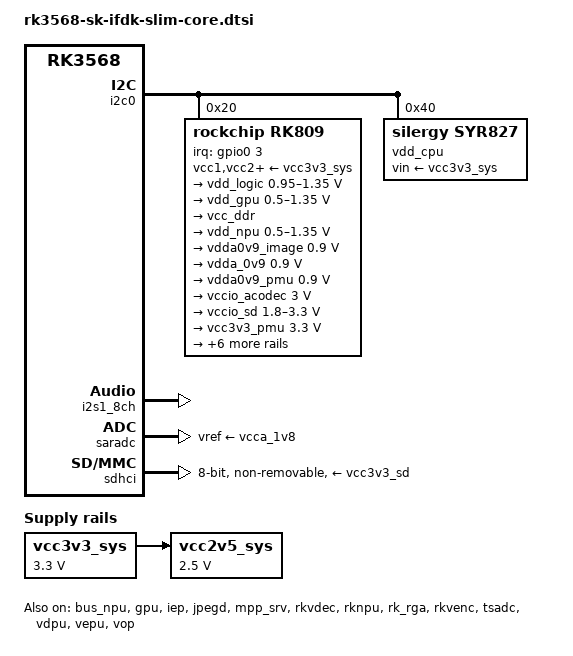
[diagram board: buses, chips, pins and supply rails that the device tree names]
// SPDX-License-Identifier: (GPL-2.0+ OR MIT)
/*
* Copyright (c) 2025 Sergey Kharenko
* Copyright (c) 2021 Rockchip Electronics Co., Ltd.
*/

#include <dt-bindings/display/rockchip_vop.h>
#include <dt-bindings/gpio/gpio.h>
#include <dt-bindings/input/rk-input.h>
#include <dt-bindings/pinctrl/rockchip.h>

#include "rk3568.dtsi"
#include "rk3568-linux.dtsi"

/ {
	chosen: chosen {
		bootargs = "earlycon=uart8250,mmio32,0xfe660000 console=ttyFIQ0 coherent_pool=1m irqchip.gicv3_pseudo_nmi=0";
	};

    vcc3v3_sys: vcc3v3-sys {
        compatible = "regulator-fixed";
        regulator-name = "vcc3v3_sys";
        regulator-always-on;
        regulator-boot-on;
        regulator-min-microvolt = <3300000>;
        regulator-max-microvolt = <3300000>;
    };

    vcc2v5_sys: vcc2v5-ddr {
        compatible = "regulator-fixed";
        regulator-name = "vcc2v5-sys";
        regulator-always-on;
        regulator-boot-on;
        regulator-min-microvolt = <2500000>;
        regulator-max-microvolt = <2500000>;
        vin-supply = <&vcc3v3_sys>;
    };
};

//GPIO0_B0 is GPIO Pin
/delete-node/ &xin32k;

&bus_npu {
	bus-supply = <&vdd_logic>;
	pvtm-supply = <&vdd_cpu>;
	status = "okay";
};

&cpu0 {
    cpu-supply = <&vdd_cpu>;
};

&dfi {
    status = "disabled";
};

&dmc {
    center-supply = <&vdd_logic>;
    status = "disabled";
};

&gpu {
    mali-supply = <&vdd_gpu>;
    mem-supply = <&vdd_gpu>;
    status = "okay";
};

&i2c0 {
    status = "okay";

    rk809: pmic@20 {
        compatible = "rockchip,rk809";
        reg = <0x20>;
        interrupt-parent = <&gpio0>;
        interrupts = <3 IRQ_TYPE_LEVEL_LOW>;

        pinctrl-names = "default", "pmic-sleep",
                "pmic-power-off", "pmic-reset";
        pinctrl-0 = <&pmic_int>;
        pinctrl-1 = <&soc_slppin_slp>, <&rk817_slppin_slp>;
        pinctrl-2 = <&soc_slppin_gpio>, <&rk817_slppin_pwrdn>;
        pinctrl-3 = <&soc_slppin_gpio>, <&rk817_slppin_rst>;

        rockchip,system-power-controller;
        wakeup-source;
        #clock-cells = <1>;
        clock-output-names = "rk808-clkout1", "rk808-clkout2";
        //fb-inner-reg-idxs = <2>;
        /* 1: rst regs (default in codes), 0: rst the pmic */
        pmic-reset-func = <0>;
        /* not save the PMIC_POWER_EN register in uboot */
        not-save-power-en = <1>;

        vcc1-supply = <&vcc3v3_sys>;
        vcc2-supply = <&vcc3v3_sys>;
        vcc3-supply = <&vcc3v3_sys>;
        vcc4-supply = <&vcc3v3_sys>;
        vcc5-supply = <&vcc3v3_sys>;
        vcc6-supply = <&vcc3v3_sys>;
        vcc7-supply = <&vcc3v3_sys>;
        vcc8-supply = <&vcc3v3_sys>;
        vcc9-supply = <&vcc3v3_sys>;

        pwrkey {
            status = "okay";
        };

        pinctrl_rk8xx: pinctrl_rk8xx {
            gpio-controller;
            #gpio-cells = <2>;

            rk817_slppin_null: rk817_slppin_null {
                pins = "gpio_slp";
                function = "pin_fun0";
            };

            rk817_slppin_slp: rk817_slppin_slp {
                pins = "gpio_slp";
                function = "pin_fun1";
            };

            rk817_slppin_pwrdn: rk817_slppin_pwrdn {
                pins = "gpio_slp";
                function = "pin_fun2";
            };

            rk817_slppin_rst: rk817_slppin_rst {
                pins = "gpio_slp";
                function = "pin_fun3";
            };
        };

        regulators {
            vdd_logic: DCDC_REG1 {
                regulator-always-on;
                regulator-boot-on;
                regulator-min-microvolt = <950000>;
                regulator-max-microvolt = <1350000>;
                regulator-init-microvolt = <950000>;
                regulator-ramp-delay = <6001>;
                regulator-initial-mode = <0x2>;
                regulator-name = "vdd_logic";
                regulator-state-mem {
                    regulator-off-in-suspend;
                };
            };

            vdd_gpu: DCDC_REG2 {
                regulator-always-on;
                regulator-boot-on;
                regulator-min-microvolt = <500000>;
                regulator-max-microvolt = <1350000>;
                regulator-init-microvolt = <900000>;
                regulator-ramp-delay = <6001>;
                regulator-initial-mode = <0x2>;
                regulator-name = "vdd_gpu";
                regulator-state-mem {
                    regulator-off-in-suspend;
                };
            };

            vcc_ddr: DCDC_REG3 {
                regulator-always-on;
                regulator-boot-on;
                regulator-initial-mode = <0x2>;
                regulator-name = "vcc_ddr";
                regulator-state-mem {
                    regulator-on-in-suspend;
                };
            };

            vdd_npu: DCDC_REG4 {
                regulator-always-on;
                regulator-boot-on;
                regulator-min-microvolt = <500000>;
                regulator-max-microvolt = <1350000>;
                regulator-init-microvolt = <900000>;
                regulator-ramp-delay = <6001>;
                regulator-initial-mode = <0x2>;
                regulator-name = "vdd_npu";
                regulator-state-mem {
                    regulator-off-in-suspend;
                };
            };

            vdda0v9_image: LDO_REG1 {
                regulator-boot-on;
                regulator-always-on;
                regulator-min-microvolt = <900000>;
                regulator-max-microvolt = <900000>;
                regulator-name = "vdda0v9_image";
                regulator-state-mem {
                    regulator-off-in-suspend;
                };
            };

            vdda_0v9: LDO_REG2 {
                regulator-always-on;
                regulator-boot-on;
                regulator-min-microvolt = <900000>;
                regulator-max-microvolt = <900000>;
                regulator-name = "vdda_0v9";
                regulator-state-mem {
                    regulator-off-in-suspend;
                };
            };

            vdda0v9_pmu: LDO_REG3 {
                regulator-always-on;
                regulator-boot-on;
                regulator-min-microvolt = <900000>;
                regulator-max-microvolt = <900000>;
                regulator-name = "vdda0v9_pmu";
                regulator-state-mem {
                    regulator-on-in-suspend;
                    regulator-suspend-microvolt = <900000>;
                };
            };

            vccio_acodec: LDO_REG4 {
                regulator-always-on;
                regulator-boot-on;
                regulator-min-microvolt = <3000000>;
                regulator-max-microvolt = <3000000>;
                regulator-name = "vccio_acodec";
                regulator-state-mem {
                    regulator-off-in-suspend;
                };
            };

            vccio_sd: LDO_REG5 {
                regulator-always-on;
                regulator-boot-on;
                regulator-min-microvolt = <1800000>;
                regulator-max-microvolt = <3300000>;
                regulator-name = "vccio_sd";
                regulator-state-mem {
                    regulator-off-in-suspend;
                };
            };

            vcc3v3_pmu: LDO_REG6 {
                regulator-always-on;
                regulator-boot-on;
                regulator-min-microvolt = <3300000>;
                regulator-max-microvolt = <3300000>;
                regulator-name = "vcc3v3_pmu";
                regulator-state-mem {
                    regulator-on-in-suspend;
                    regulator-suspend-microvolt = <3300000>;
                };
            };

            vcca_1v8: LDO_REG7 {
                regulator-always-on;
                regulator-boot-on;
                regulator-min-microvolt = <1800000>;
                regulator-max-microvolt = <1800000>;
                regulator-name = "vcca_1v8";
                regulator-state-mem {
                    regulator-off-in-suspend;
                };
            };

            vcca1v8_pmu: LDO_REG8 {
                regulator-always-on;
                regulator-boot-on;
                regulator-min-microvolt = <1800000>;
                regulator-max-microvolt = <1800000>;
                regulator-name = "vcca1v8_pmu";
                regulator-state-mem {
                    regulator-on-in-suspend;
                    regulator-suspend-microvolt = <1800000>;
                };
            };

            vcca1v8_image: LDO_REG9 {
                regulator-always-on;
                regulator-boot-on;
                regulator-min-microvolt = <1800000>;
                regulator-max-microvolt = <1800000>;
                regulator-name = "vcca1v8_image";
                regulator-state-mem {
                    regulator-off-in-suspend;
                };
            };

            vcc_1v8: DCDC_REG5 {
                regulator-always-on;
                regulator-boot-on;
                regulator-min-microvolt = <1800000>;
                regulator-max-microvolt = <1800000>;
                regulator-name = "vcc_1v8";
                regulator-state-mem {
                    regulator-off-in-suspend;
                };
            };

            vcc_3v3: SWITCH_REG1 {
                regulator-always-on;
                regulator-boot-on;
                regulator-name = "vcc_3v3";
                regulator-state-mem {
                    regulator-off-in-suspend;
                };
            };

            vcc3v3_sd: SWITCH_REG2 {
                regulator-always-on;
                regulator-boot-on;
                regulator-name = "vcc3v3_sd";
                regulator-state-mem {
                    regulator-off-in-suspend;
                };
            };
        };

        rk809_codec: codec {
            #sound-dai-cells = <0>;
            compatible = "rockchip,rk809-codec", "rockchip,rk817-codec";
            clocks = <&cru I2S1_MCLKOUT>;
            clock-names = "mclk";
            assigned-clocks = <&cru I2S1_MCLKOUT>, <&cru I2S1_MCLK_TX_IOE>;
            assigned-clock-rates = <12288000>;
            assigned-clock-parents = <&cru I2S1_MCLKOUT_TX>, <&cru I2S1_MCLKOUT_TX>;
            pinctrl-names = "default";
            pinctrl-0 = <&i2s1m0_mclk>;
            hp-volume = <100>;
            spk-volume = <100>;
            capture_volume = <100>;
            mic-in-differential;
        };
    };
    
    vdd_cpu: syr837@40 {
        compatible = "silergy,syr827";
        reg = <0x40>;
        vin-supply = <&vcc3v3_sys>;
        regulator-compatible = "fan53555-reg";
        regulator-name = "vdd_cpu";
        regulator-min-microvolt = <712500>;
        regulator-max-microvolt = <1390000>;
        regulator-ramp-delay = <2300>;
        fcs,suspend-voltage-selector = <1>;
        regulator-always-on;
        regulator-boot-on;
        regulator-initial-state = <3>;
        regulator-state-mem {
            regulator-off-in-suspend;
        };
    }; 
};

&i2s1_8ch {
    status = "okay";
    rockchip,clk-trcm = <1>;
    pinctrl-names = "default";
    pinctrl-0 = <&i2s1m0_sclktx
             &i2s1m0_lrcktx
             &i2s1m0_sdi0
             &i2s1m0_sdo0>;
};

&iep {
    status = "okay";
};

&iep_mmu {
    status = "okay";
};

&jpegd {
    status = "okay";
};

&jpegd_mmu {
    status = "okay";
};

&mpp_srv {
    status = "okay";
};

&pinctrl {
    pmic {
        pmic_int: pmic_int {
            rockchip,pins =
                <0 RK_PA3 RK_FUNC_GPIO &pcfg_pull_up>;
        };

        soc_slppin_gpio: soc_slppin_gpio {
            rockchip,pins =
                <0 RK_PA2 RK_FUNC_GPIO &pcfg_output_low>;
        };

        soc_slppin_slp: soc_slppin_slp {
            rockchip,pins =
                <0 RK_PA2 1 &pcfg_pull_none>;
        };

        soc_slppin_rst: soc_slppin_rst {
            rockchip,pins =
                <0 RK_PA2 2 &pcfg_pull_none>;
        };
    };
};

&pmu_io_domains {
    status = "okay";
    pmuio2-supply = <&vcc3v3_pmu>;
    vccio1-supply = <&vccio_acodec>;
    vccio3-supply = <&vccio_sd>;
    vccio4-supply = <&vcc_1v8>;
    vccio5-supply = <&vcc_3v3>;
    vccio6-supply = <&vcc_1v8>;
    vccio7-supply = <&vcc_3v3>;
};

&rkvdec {
    status = "okay";
};

&rkvdec_mmu {
    status = "okay";
};

&rknpu {
    rknpu-supply = <&vdd_npu>;
    mem-supply = <&vdd_npu>;
    status = "okay";
};

&rknpu_mmu {
    status = "okay";
};

&rk_rga {
    status = "okay";
};

&rkvenc {
    venc-supply = <&vdd_logic>;
    status = "okay";
};

&rkvenc_mmu {
    status = "okay";
};

&saradc {
    status = "okay";
    vref-supply = <&vcca_1v8>;
};

&sdhci {
    vmmc-supply = <&vcc3v3_sd>;
    vqmmc-supply = <&vccio_sd>;
    bus-width = <8>;
    supports-emmc;
    non-removable;
    max-frequency = <200000000>;
    status = "okay";
};

&tsadc {
    status = "okay";
};

&vdpu {
    status = "okay";
};

&vdpu_mmu {
    status = "okay";
};

&vepu {
    status = "okay";
};

&vepu_mmu {
    status = "okay";
};

&vop {
	status = "okay";
	vop-supply = <&vdd_logic>;
	assigned-clocks = <&cru DCLK_VOP0>, <&cru DCLK_VOP1>, <&cru DCLK_VOP2>;
	assigned-clock-parents = <&pmucru PLL_HPLL>, <&cru PLL_VPLL>, <&cru PLL_GPLL>;
	support-multi-area;
	disable-win-move;
};

&vop_mmu {
	status = "okay";
};

// &vp0 {
//     cursor-win-id=<ROCKCHIP_VOP2_ESMART0>;
// 	rockchip,plane-mask = <(1 << ROCKCHIP_VOP2_CLUSTER1)>;
// 	rockchip,primary-plane = <ROCKCHIP_VOP2_CLUSTER1>;
// };

// &vp1 {
//     cursor-win-id=<ROCKCHIP_VOP2_SMART1>;
// 	rockchip,plane-mask = <(1 << ROCKCHIP_VOP2_ESMART1)>;
// 	rockchip,primary-plane = <ROCKCHIP_VOP2_ESMART1>;
// };

// &vp2 {
//     cursor-win-id=<ROCKCHIP_VOP2_SMART0>;
// 	rockchip,plane-mask = <(1 << ROCKCHIP_VOP2_CLUSTER0)>;
// 	rockchip,primary-plane = <ROCKCHIP_VOP2_CLUSTER0>;
// };

